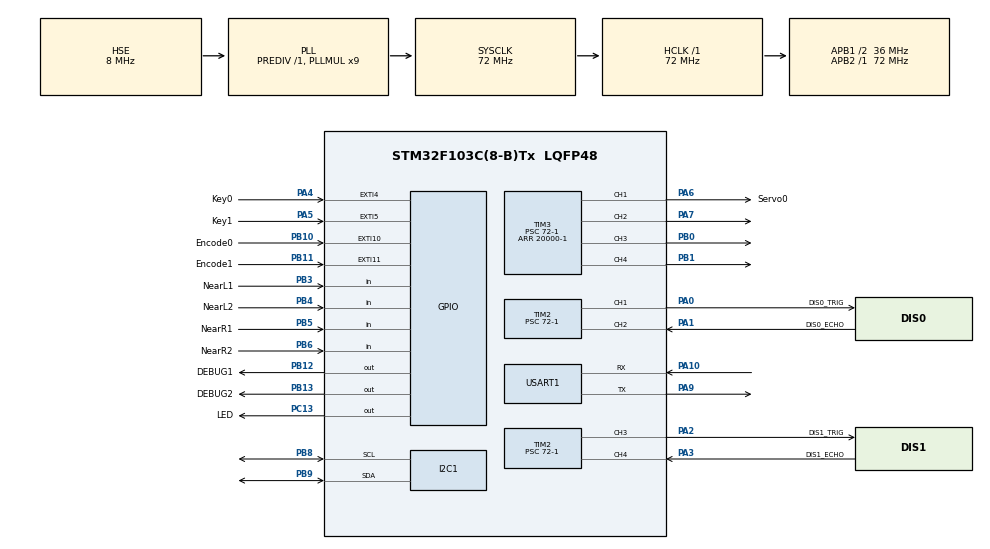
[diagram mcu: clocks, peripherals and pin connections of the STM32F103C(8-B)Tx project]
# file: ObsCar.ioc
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FREERTOS.Tasks01=defaultTask,0,128,StartDefaultTask,Default,NULL,Dynamic,NULL,NULL;Task_Ctrl,0,128,StartTask_Ctrl,Default,NULL,Dynamic,NULL,NULL;Task_MPU6050,0,128,StartTaskMPU6050,Default,NULL,Dynamic,NULL,NULL
Mcu.Family=STM32F1
Mcu.Name=STM32F103C(8-B)Tx
Mcu.Package=LQFP48
Mcu.UserConstants=HAL_HR04_PERIOD,(1000000 * 2 / 340 * 4) - 1
NVIC.EXTI15_10_IRQn=true\:5\:0\:false\:false\:true\:true\:true
NVIC.PriorityGroup=NVIC_PRIORITYGROUP_4
NVIC.TIM2_IRQn=true\:5\:0\:false\:false\:true\:true\:true
NVIC.TIM4_IRQn=true\:0\:0\:false\:false\:true\:false\:false
NVIC.TimeBase=TIM4_IRQn
NVIC.TimeBaseIP=TIM4
PA0-WKUP.GPIO_Label=DIS0_TRIG
PA0-WKUP.Signal=S_TIM2_CH1_ETR
PA1.GPIO_Label=DIS0_ECHO
PA1.Signal=S_TIM2_CH2
PA10.Mode=Asynchronous
PA10.Signal=USART1_RX
PA13.Mode=Serial_Wire
PA13.Signal=SYS_JTMS-SWDIO
PA14.Mode=Serial_Wire
PA14.Signal=SYS_JTCK-SWCLK
PA2.GPIO_Label=DIS1_TRIG
PA2.Signal=S_TIM2_CH3
PA3.GPIO_Label=DIS1_ECHO
PA3.Signal=S_TIM2_CH4
PA4.GPIO_Label=Key0
PA4.GPIO_PuPd=GPIO_PULLUP
PA4.Signal=GPXTI4
PA5.GPIO_Label=Key1
PA5.GPIO_PuPd=GPIO_PULLUP
PA5.Signal=GPXTI5
PA6.GPIO_Label=Servo0
PA6.Signal=S_TIM3_CH1
PA7.Signal=S_TIM3_CH2
PA9.Mode=Asynchronous
PA9.Signal=USART1_TX
PB0.Signal=S_TIM3_CH3
PB1.Signal=S_TIM3_CH4
PB10.GPIO_Label=Encode0
PB10.Signal=GPXTI10
PB11.GPIO_Label=Encode1
PB11.Signal=GPXTI11
PB12.GPIO_Label=DEBUG1
PB12.Signal=GPIO_Output
PB13.GPIO_Label=DEBUG2
PB13.Signal=GPIO_Output
PB3.GPIO_Label=NearL1
PB3.Signal=GPIO_Input
PB4.GPIO_Label=NearL2
PB4.Signal=GPIO_Input
PB5.GPIO_Label=NearR1
PB5.Signal=GPIO_Input
PB6.GPIO_Label=NearR2
PB6.Signal=GPIO_Input
PB8.Mode=I2C
PB8.Signal=I2C1_SCL
PB9.Mode=I2C
PB9.Signal=I2C1_SDA
PC13-TAMPER-RTC.GPIO_Label=LED
PC13-TAMPER-RTC.Signal=GPIO_Output
PD0-OSC_IN.Mode=HSE-External-Oscillator
PD0-OSC_IN.Signal=RCC_OSC_IN
PD1-OSC_OUT.Mode=HSE-External-Oscillator
PD1-OSC_OUT.Signal=RCC_OSC_OUT
ProjectManager.HeapSize=0x200
ProjectManager.StackSize=0x400
ProjectManager.TargetToolchain=MDK-ARM V5
RCC.AHBFreq_Value=72000000
RCC.APB1CLKDivider=RCC_HCLK_DIV2
RCC.APB1Freq_Value=36000000
RCC.APB1TimFreq_Value=72000000
RCC.APB2Freq_Value=72000000
RCC.APB2TimFreq_Value=72000000
RCC.HCLKFreq_Value=72000000
RCC.PLLMUL=RCC_PLL_MUL9
RCC.PLLSourceVirtual=RCC_PLLSOURCE_HSE
RCC.SYSCLKFreq_VALUE=72000000
RCC.SYSCLKSource=RCC_SYSCLKSOURCE_PLLCLK
RCC.USBFreq_Value=72000000
SH.S_TIM2_CH1_ETR.0=TIM2_CH1,PWM Generation1 CH1
SH.S_TIM2_CH2.0=TIM2_CH2,Input_Capture2_from_TI2
SH.S_TIM2_CH3.0=TIM2_CH3,PWM Generation3 CH3
SH.S_TIM2_CH4.0=TIM2_CH4,Input_Capture4_from_TI4
SH.S_TIM3_CH1.0=TIM3_CH1,PWM Generation1 CH1
SH.S_TIM3_CH2.0=TIM3_CH2,PWM Generation2 CH2
SH.S_TIM3_CH3.0=TIM3_CH3,PWM Generation3 CH3
SH.S_TIM3_CH4.0=TIM3_CH4,PWM Generation4 CH4
TIM2.Channel-Input_Capture2_from_TI2=TIM_CHANNEL_2
TIM2.Channel-Input_Capture4_from_TI4=TIM_CHANNEL_4
TIM2.Channel-PWM\ Generation1\ CH1=TIM_CHANNEL_1
TIM2.Channel-PWM\ Generation3\ CH3=TIM_CHANNEL_3
TIM2.OCMode_PWM-PWM\ Generation1\ CH1=TIM_OCMODE_PWM2
TIM2.OCMode_PWM-PWM\ Generation3\ CH3=TIM_OCMODE_PWM2
TIM2.Period=HAL_HR04_PERIOD
TIM2.Prescaler=72-1
TIM2.Pulse-PWM\ Generation1\ CH1=HAL_HR04_PERIOD-14
TIM2.Pulse-PWM\ Generation3\ CH3=HAL_HR04_PERIOD-14
TIM3.AutoReloadPreload=TIM_AUTORELOAD_PRELOAD_ENABLE
TIM3.Channel-PWM\ Generation1\ CH1=TIM_CHANNEL_1
TIM3.Channel-PWM\ Generation2\ CH2=TIM_CHANNEL_2
TIM3.Channel-PWM\ Generation3\ CH3=TIM_CHANNEL_3
TIM3.Channel-PWM\ Generation4\ CH4=TIM_CHANNEL_4
TIM3.Period=20000-1
TIM3.Prescaler=72-1
TIM3.Pulse-PWM\ Generation1\ CH1=1500-1
USART1.VirtualMode=VM_ASYNC
VP_FREERTOS_VS_ENABLE.Mode=Enabled
VP_SYS_VS_tim4.Mode=TIM4
VP_TIM2_VS_ClockSourceINT.Mode=Internal
VP_TIM3_VS_ClockSourceINT.Mode=Internal
board=custom

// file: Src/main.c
/**
  ******************************************************************************
  * @file           : main.c
  * @brief          : Main program body
  ******************************************************************************
  * This notice applies to any and all portions of this file
  * that are not between comment pairs USER CODE BEGIN and
  * USER CODE END. Other portions of this file, whether
  * inserted by the user or by software development tools
  * are owned by their respective copyright owners.
  *
  * Copyright (c) 2019 STMicroelectronics International N.V.
  * All rights reserved.
  *
  * Redistribution and use in source and binary forms, with or without
  * modification, are permitted, provided that the following conditions are met:
  *
  * 1. Redistribution of source code must retain the above copyright notice,
  *    this list of conditions and the following disclaimer.
  * 2. Redistributions in binary form must reproduce the above copyright notice,
  *    this list of conditions and the following disclaimer in the documentation
  *    and/or other materials provided with the distribution.
  * 3. Neither the name of STMicroelectronics nor the names of other
  *    contributors to this software may be used to endorse or promote products
  *    derived from this software without specific written permission.
  * 4. This software, including modifications and/or derivative works of this
  *    software, must execute solely and exclusively on microcontroller or
  *    microprocessor devices manufactured by or for STMicroelectronics.
  * 5. Redistribution and use of this software other than as permitted under
  *    this license is void and will automatically terminate your rights under
  *    this license.
  *
  * THIS SOFTWARE IS PROVIDED BY STMICROELECTRONICS AND CONTRIBUTORS "AS IS"
  * AND ANY EXPRESS, IMPLIED OR STATUTORY WARRANTIES, INCLUDING, BUT NOT
  * LIMITED TO, THE IMPLIED WARRANTIES OF MERCHANTABILITY, FITNESS FOR A
  * PARTICULAR PURPOSE AND NON-INFRINGEMENT OF THIRD PARTY INTELLECTUAL PROPERTY
  * RIGHTS ARE DISCLAIMED TO THE FULLEST EXTENT PERMITTED BY LAW. IN NO EVENT
  * SHALL STMICROELECTRONICS OR CONTRIBUTORS BE LIABLE FOR ANY DIRECT, INDIRECT,
  * INCIDENTAL, SPECIAL, EXEMPLARY, OR CONSEQUENTIAL DAMAGES (INCLUDING, BUT NOT
  * LIMITED TO, PROCUREMENT OF SUBSTITUTE GOODS OR SERVICES; LOSS OF USE, DATA,
  * OR PROFITS; OR BUSINESS INTERRUPTION) HOWEVER CAUSED AND ON ANY THEORY OF
  * LIABILITY, WHETHER IN CONTRACT, STRICT LIABILITY, OR TORT (INCLUDING
  * NEGLIGENCE OR OTHERWISE) ARISING IN ANY WAY OUT OF THE USE OF THIS SOFTWARE,
  * EVEN IF ADVISED OF THE POSSIBILITY OF SUCH DAMAGE.
  *
  ******************************************************************************
  */
#include "main.h"
#include "stm32f1xx_hal.h"
#include "cmsis_os.h"
#include "i2c.h"
#include "tim.h"
#include "usart.h"
#include "gpio.h"

/* USER CODE BEGIN PV */
/* Private variables ---------------------------------------------------------*/
/* USER CODE END PV */

void SystemClock_Config(void);
void MX_FREERTOS_Init(void);

/* USER CODE BEGIN PFP */
/* Private function prototypes -----------------------------------------------*/

#ifdef __GNUC__
#define PUTCHAR_PROTOTYPE int __io_putchar(int ch)
#else
#define PUTCHAR_PROTOTYPE int fputc(int ch, FILE *f)
#endif

/* USER CODE END PFP */

/* USER CODE BEGIN 0 */
PUTCHAR_PROTOTYPE
{
	HAL_UART_Transmit(&huart1, (uint8_t*)&ch, 1, 0xFFFF);
	return ch;
}
/* USER CODE END 0 */

int main(void)
{

  /* MCU Configuration----------------------------------------------------------*/

  /* Reset of all peripherals, Initializes the Flash interface and the Systick. */
  HAL_Init();

  /* Configure the system clock */
  SystemClock_Config();

  /* Initialize all configured peripherals */
  MX_GPIO_Init();
  MX_I2C1_Init();
  MX_TIM2_Init();
  MX_TIM3_Init();
  MX_USART1_UART_Init();

  /* Call init function for freertos objects (in freertos.c) */
  MX_FREERTOS_Init();

  /* Start scheduler */
  osKernelStart();

  /* We should never get here as control is now taken by the scheduler */

  /* Infinite loop */
  while (1)
  {

  }

}

void SystemClock_Config(void)
{

  RCC_OscInitTypeDef RCC_OscInitStruct;
  RCC_ClkInitTypeDef RCC_ClkInitStruct;

    /**Initializes the CPU, AHB and APB busses clocks
    */
  RCC_OscInitStruct.OscillatorType = RCC_OSCILLATORTYPE_HSE;
  RCC_OscInitStruct.HSEState = RCC_HSE_ON;
  RCC_OscInitStruct.HSEPredivValue = RCC_HSE_PREDIV_DIV1;
  RCC_OscInitStruct.HSIState = RCC_HSI_ON;
  RCC_OscInitStruct.PLL.PLLState = RCC_PLL_ON;
  RCC_OscInitStruct.PLL.PLLSource = RCC_PLLSOURCE_HSE;
  RCC_OscInitStruct.PLL.PLLMUL = RCC_PLL_MUL9;
  if (HAL_RCC_OscConfig(&RCC_OscInitStruct) != HAL_OK)
  {
    _Error_Handler(__FILE__, __LINE__);
  }

    /**Initializes the CPU, AHB and APB busses clocks
    */
  RCC_ClkInitStruct.ClockType = RCC_CLOCKTYPE_HCLK|RCC_CLOCKTYPE_SYSCLK
                              |RCC_CLOCKTYPE_PCLK1|RCC_CLOCKTYPE_PCLK2;
  RCC_ClkInitStruct.SYSCLKSource = RCC_SYSCLKSOURCE_PLLCLK;
  RCC_ClkInitStruct.AHBCLKDivider = RCC_SYSCLK_DIV1;
  RCC_ClkInitStruct.APB1CLKDivider = RCC_HCLK_DIV2;
  RCC_ClkInitStruct.APB2CLKDivider = RCC_HCLK_DIV1;

  if (HAL_RCC_ClockConfig(&RCC_ClkInitStruct, FLASH_LATENCY_2) != HAL_OK)
  {
    _Error_Handler(__FILE__, __LINE__);
  }

    /**Configure the Systick interrupt time
    */
  HAL_SYSTICK_Config(HAL_RCC_GetHCLKFreq()/1000);

    /**Configure the Systick
    */
  HAL_SYSTICK_CLKSourceConfig(SYSTICK_CLKSOURCE_HCLK);

  /* SysTick_IRQn interrupt configuration */
  HAL_NVIC_SetPriority(SysTick_IRQn, 15, 0);
}

void HAL_TIM_PeriodElapsedCallback(TIM_HandleTypeDef *htim)
{
  if (htim->Instance == TIM4) {
    HAL_IncTick();
  }
}

void _Error_Handler(char *file, int line)
{
  while(1)
  {
  }
}

/************************ (C) COPYRIGHT STMicroelectronics *****END OF FILE****/

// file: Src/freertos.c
/**
  ******************************************************************************
  * File Name          : freertos.c
  * Description        : Code for freertos applications
  ******************************************************************************
  * This notice applies to any and all portions of this file
  * that are not between comment pairs USER CODE BEGIN and
  * USER CODE END. Other portions of this file, whether
  * inserted by the user or by software development tools
  * are owned by their respective copyright owners.
  *
  * Copyright (c) 2019 STMicroelectronics International N.V.
  * All rights reserved.
  *
  * Redistribution and use in source and binary forms, with or without
  * modification, are permitted, provided that the following conditions are met:
  *
  * 1. Redistribution of source code must retain the above copyright notice,
  *    this list of conditions and the following disclaimer.
  * 2. Redistributions in binary form must reproduce the above copyright notice,
  *    this list of conditions and the following disclaimer in the documentation
  *    and/or other materials provided with the distribution.
  * 3. Neither the name of STMicroelectronics nor the names of other
  *    contributors to this software may be used to endorse or promote products
  *    derived from this software without specific written permission.
  * 4. This software, including modifications and/or derivative works of this
  *    software, must execute solely and exclusively on microcontroller or
  *    microprocessor devices manufactured by or for STMicroelectronics.
  * 5. Redistribution and use of this software other than as permitted under
  *    this license is void and will automatically terminate your rights under
  *    this license.
  *
  * THIS SOFTWARE IS PROVIDED BY STMICROELECTRONICS AND CONTRIBUTORS "AS IS"
  * AND ANY EXPRESS, IMPLIED OR STATUTORY WARRANTIES, INCLUDING, BUT NOT
  * LIMITED TO, THE IMPLIED WARRANTIES OF MERCHANTABILITY, FITNESS FOR A
  * PARTICULAR PURPOSE AND NON-INFRINGEMENT OF THIRD PARTY INTELLECTUAL PROPERTY
  * RIGHTS ARE DISCLAIMED TO THE FULLEST EXTENT PERMITTED BY LAW. IN NO EVENT
  * SHALL STMICROELECTRONICS OR CONTRIBUTORS BE LIABLE FOR ANY DIRECT, INDIRECT,
  * INCIDENTAL, SPECIAL, EXEMPLARY, OR CONSEQUENTIAL DAMAGES (INCLUDING, BUT NOT
  * LIMITED TO, PROCUREMENT OF SUBSTITUTE GOODS OR SERVICES; LOSS OF USE, DATA,
  * OR PROFITS; OR BUSINESS INTERRUPTION) HOWEVER CAUSED AND ON ANY THEORY OF
  * LIABILITY, WHETHER IN CONTRACT, STRICT LIABILITY, OR TORT (INCLUDING
  * NEGLIGENCE OR OTHERWISE) ARISING IN ANY WAY OUT OF THE USE OF THIS SOFTWARE,
  * EVEN IF ADVISED OF THE POSSIBILITY OF SUCH DAMAGE.
  *
  ******************************************************************************
  */

#include "FreeRTOS.h"
#include "task.h"
#include "cmsis_os.h"

/* USER CODE BEGIN Includes */
#include "freertos_var.h"
#include "main.h"
/* USER CODE END Includes */

osThreadId defaultTaskHandle;
osThreadId Task_CtrlHandle;
osThreadId Task_MPU6050Handle;

void StartDefaultTask(void const *argument);
void StartTask_Ctrl(void const *argument);
void StartTaskMPU6050(void const *argument);

void MX_FREERTOS_Init(void); /* (MISRA C 2004 rule 8.1) */

/* USER CODE BEGIN FunctionPrototypes */
void GUI_View(void);
void GUI_Edit(uint16_t upd_items);
void GUI_Key(void);
void Key_Loop(void);
void Cali_Alpha(void);
void Step_Ready(void);
void Step_Run(void);
void Step_Obs(void);
//Log function
/* USER CODE END FunctionPrototypes */

/* Hook prototypes */

/* Init FreeRTOS */

void MX_FREERTOS_Init(void)
{

	/* Create the thread(s) */
	/* definition and creation of defaultTask */
	osThreadDef(defaultTask, StartDefaultTask, osPriorityNormal, 0, 128);
	defaultTaskHandle = osThreadCreate(osThread(defaultTask), NULL);

	/* definition and creation of Task_Ctrl */
	osThreadDef(Task_Ctrl, StartTask_Ctrl, osPriorityNormal, 0, 128);
	Task_CtrlHandle = osThreadCreate(osThread(Task_Ctrl), NULL);

	/* definition and creation of Task_MPU6050 */
	osThreadDef(Task_MPU6050, StartTaskMPU6050, osPriorityNormal, 0, 128);
	Task_MPU6050Handle = osThreadCreate(osThread(Task_MPU6050), NULL);

}

/* StartDefaultTask function */
void StartDefaultTask(void const *argument)
{

	/* USER CODE BEGIN StartDefaultTask */
	uint8_t LedTime;
	TF_READY = 0x03;
	while (TF_READY)
		osDelay(200);
	printf("Im Ready!\r\nW/A:Up/Down\tA/D:Min/Add\r\nQ:PrePanel(Quit)\tE:NextPanel(Enable)\r\nL:ON/OFF Log");
	printf("R:Reset\tC:Calibrate\r\nEnter/N:ReadyRun\r\n\n\x1b[?25l");
	/* Infinite loop */
	for (;;)
	{
		osDelay(100);
		if (LedTime++ < (Flag_Mode + 1))
			GPIOC->BRR = GPIO_BRR_BR13; //Flash LED P13
		else if (LedTime > 10)
			LedTime = 0;
		osDelay(100);
		GPIOC->BSRR = GPIO_BSRR_BS13;

		//View
		if (GUI_Mode == 0)
			GUI_Key(); //This Function will be change the GUI_Mode
		if (GUI_Mode == 0)
			GUI_View();
		// else
	}
	/* USER CODE END StartDefaultTask */
}

/* StartTask_Ctrl function */
void StartTask_Ctrl(void const *argument)
{
	/* USER CODE BEGIN StartTask_Ctrl */
	//HR04
	HR04_Config();
	osDelay(1000);
	//Servo
	HAL_TIM_PWM_Start(&htim3, TIM_CHANNEL_1);
	/* Infinite loop */
	TF_READY &= ~0x01;
	for (;;)
	{
		osDelay(10);

		//PID
		if (Flag_Mode == FLAG_MODE_OBS)
			Step_Obs();
		else if (Flag_Mode == FLAG_MODE_RUN)
			Step_Run();
		else if (Flag_Mode == FLAG_MODE_CALI_S)
			Cali_Alpha();
		else if (Flag_Mode == FLAG_MODE_READY)
			Step_Ready();

		TIM3->CCR1 = 1500 + (value_servo - value_servo0);

		if (GUI_Mode != 0)
			GUI_Key();
		Key_Loop();
		if (KEY_IS_DOWN(0))
		{
			//Start
			Flag_Mode = FLAG_MODE_READY;
		}
		if (KEY_IS_DOWN(1))
		{
			//Inte Calibration Zero
			value_servo = 0;
			//Dead 2Second
			osDelay(2000);
			Flag_Mode = FLAG_MODE_CALI_G;
			Value_CaliGx = 0;
			Value_CaliGy = 0;
			Value_CaliGz = 0;
			Value_CaliT = 0;
		}
	}
	/* USER CODE END StartTask_Ctrl */
}

/* StartTaskMPU6050 function */
void StartTaskMPU6050(void const *argument)
{
	/* USER CODE BEGIN StartTaskMPU6050 */
	MPU_Datas datas_base;
	do
	{
		printf("\x1b[2J\x1b[0;0H*T Initing MPU6050!\r\n*");
		GPIOC->ODR ^= GPIO_ODR_ODR13; //Flash LED P13
		osDelay(200);
	} while (MPU_Init(10) != HAL_OK);
	//Calibration Zero
	printf("*T Calibration base datas...\r\n*");
	osDelay(900);
	MPU_GetIntDatas(&datas_base);
	MPU_GetFloatDatas(&data_acc, &data_gyro, &datas_base);
	MPU_GetAccelBase(&data_baseQ, &data_acc);
	printf("*T\r\nACCEL Base:%.4f %.4f %.4f      \r\n", data_acc.x, data_acc.y, data_acc.z);
	printf("GYRO  Base:%d %d %d      *\r\n", datas_base.Gx, datas_base.Gy, datas_base.Gz);
	/* Infinite loop */
	TF_READY &= ~0x02;
	for (;;)
	{
		if (TF_MPU6050)
		{
			TF_MPU6050 = 0;
			Flag_I2C = MPU_GetIntDatas(&datas);

			if (Flag_Mode == FLAG_MODE_CALI_G)
			{
				//Calibration
				Value_CaliGx += datas.Gx;
				Value_CaliGy += datas.Gy;
				Value_CaliGz += datas.Gz;
				Value_CaliT++;
				if (Value_CaliT >= 1000)
				{
					datas_base.Gx = Value_CaliGx / Value_CaliT;
					datas_base.Gy = Value_CaliGy / Value_CaliT;
					datas_base.Gz = Value_CaliGz / Value_CaliT;
					Flag_Mode = FLAG_MODE_CLOSE;
					value_servo = 0;
					data_q.x = 0;
					data_q.y = 0;
					data_q.z = 0;
					data_q.w = 1;
				}
				GPIOC->ODR ^= GPIO_ODR_ODR13; //Flash LED P13
			}
			else
			{
				datas.Gx -= datas_base.Gx;
				datas.Gy -= datas_base.Gy;
				datas.Gz -= datas_base.Gz;
				MPU_GetFloatDatas(&data_acc, &data_gyro, &datas);
				// MPU_NormVector(&data_acc);
				// MPU_QuatMulV3d(&data_acc, &data_baseQ, &data_acc);
				MPU_Filter(&data_gyro, &data_acc, &data_gEInt, &data_q, 0.0025f);
				MPU_GetAngle(&data_q, &data_angle.x, &data_angle.y, &data_angle.z);
			}

			if (TF_MPU6050 > 3)
				osDelay(3);
		}
	}
	/* USER CODE END StartTaskMPU6050 */
}

/* USER CODE BEGIN Application */
uint8_t USART1_Get(void)
{
	if (USART1->SR & USART_SR_RXNE)
	{
		USART1->SR &= ~USART_SR_RXNE;
		return USART1->DR;
	}
	return 0;
}
#define USART_IS_KEY(buf, key) ((buf == key) || (buf == (key - 'A' + 'a')))
#define USART_CLEAR \
	printf("\
	\r\x1b[1B\x1b[K\r\x1b[1B\x1b[K\r\x1b[1B\x1b[K\
	\r\x1b[1B\x1b[K\r\x1b[1B\x1b[K\r\x1b[1B\x1b[K\
	\r\x1b[1B\x1b[K\x1b[7A");
void GUI_Key(void)
{
	uint8_t buf;
	buf = USART1_Get();
	if (!buf)
		return;
	if (GUI_Mode == 0)
	{
		if (USART_IS_KEY(buf, 'E'))
		{
			//Enable Setting Mode
			GUI_Mode = 1;
			GUI_Sele = 0;
			USART_CLEAR;
			GUI_Edit(0xFFFF);
		}
		else if (USART_IS_KEY(buf, 'C'))
		{
			Flag_Mode = FLAG_MODE_CALI_G;
			Value_CaliGx = 0;
			Value_CaliGy = 0;
			Value_CaliGz = 0;
			Value_CaliT = 0;
		}
		else if (USART_IS_KEY(buf, 'R'))
		{
			Flag_Mode = 0;
			Flag_Dir = 1;
			Flag_Step = 0;
			Flag_Angle = 0;
			value_servo = 0;
			value_pDis = 0;
			data_q.x = 0;
			data_q.y = 0;
			data_q.z = 0;
			data_q.w = 1;
			Log_Time = 0;
			printf("\x1b[?25l\x1b[2J\x1b[0;0H");
		}
		else if (USART_IS_KEY(buf, 'L'))
		{
			Log_Enable = !Log_Enable;
		}
		else if (buf == '\r' || buf == '\n' || USART_IS_KEY(buf, 'N'))
		{
			Flag_Mode = FLAG_MODE_READY;
			Flag_Step = 0;
		}
		else if(Flag_Mode == 0)
		{
			if(USART_IS_KEY(buf, 'W'))
				value_servo = 0;
			else if(USART_IS_KEY(buf, 'S'))
				value_servo = 900;
			else if(USART_IS_KEY(buf, 'A'))
				value_servo = TURN_ANGLE;
			else if(USART_IS_KEY(buf, 'D'))
				value_servo = -TURN_ANGLE;
		}
	}
	else
	{
		if (USART_IS_KEY(buf, 'Q'))
		{
			GUI_Mode = 0;
			USART_CLEAR;
		}
		else if (USART_IS_KEY(buf, 'W'))
		{
			if (GUI_Sele)
				GUI_Sele--;
			GUI_Edit(0x0003 << GUI_Sele);
		}
		else if (USART_IS_KEY(buf, 'S'))
		{
			if (GUI_Sele < Para_Len - 1)
				GUI_Sele++;
			GUI_Edit(0x0003 << (GUI_Sele - 1));
		}
		else if (USART_IS_KEY(buf, 'A'))
		{
			Para_List[GUI_Sele]--;
			GUI_Edit(0x0001 << GUI_Sele);
		}
		else if (USART_IS_KEY(buf, 'D'))
		{
			Para_List[GUI_Sele]++;
			GUI_Edit(0x0001 << GUI_Sele);
		}
	}
}
void GUI_View(void)
{
	Log_SendLoop();
	printf("\x1b[KView %c\r", Log_Enable ? 'L' : ' ');
	if (Flag_I2C == HAL_OK)
	{
		if (Flag_Mode == FLAG_MODE_CALI_G)
		{
			printf("\x1b[1BCALI:*G%d*", Value_CaliGz);
			printf(",%d", Value_CaliT);
			printf("   \r\x1b[1A");
		}
		else
		{
			printf("\x1b[1B\x1b[K*GAngleZ:%-.1f",
				   data_angle.z * 57.2957795f);
			printf(",Servo:%-d*   \r\x1b[1A",
				   value_servo * 90 / 1000);
		}
	}
	else
	{
		if (Flag_I2C == HAL_ERROR)
			printf("\x1b[1B\x1b[K*GAngleZ:ERROR");
		else if (Flag_I2C == HAL_BUSY)
			printf("\x1b[1B\x1b[K*GAngleZ:BUSY");
		else if (Flag_I2C == HAL_TIMEOUT)
			printf("\x1b[1B\x1b[K*GAngleZ:TIMEOUT");
		printf(",Servo:%-d*   \r\x1b[1A",
			   value_servo * 90 / 1000);
	}

	if (TF_HR04)
	{
		TF_HR04 = 0;
		printf("\x1b[2B\x1b[K*DHR04:%dcm  \t%dcm  *  \r\x1b[2A",
			   HR04_GetIntCm(0), HR04_GetIntCm(1));
	}
	printf("\x1b[3B\x1b[K*SNear:%02X\t%02X\t%02X\t%02X\t*	\r\x1b[3A",
		   NearSor[0], NearSor[1], NearSor[2], NearSor[3]);
	printf("\x1b[4B\x1b[K*PMode:%d,Step:%d*    \r\x1b[4A",
		   Flag_Mode, Flag_Step);
	printf("\x1b[4B\n\x1b[5A");
}
#define BG_SELECT printf("\033[46;30m")
#define BG_NORMAL printf("\033[0m")
void GUI_Edit(uint16_t upd_items)
{
	printf("Edit\r");
	if (upd_items & (0x0001 << 0))
	{
		if (GUI_Sele == 0)
			BG_SELECT;
		else
			BG_NORMAL;
		printf("\x1b[1B*G:ReadyAngle:%d  *  \r\x1b[1A",
			   Para_ANGLE_READY);
	}
	if (upd_items & (0x0001 << 1))
	{
		if (GUI_Sele == 1)
			BG_SELECT;
		else
			BG_NORMAL;
		printf("\x1b[2B*D:ObsDis:%d  *  \r\x1b[2A",
			   Para_OBS_DIS);
	}
	if (upd_items & (0x0001 << 2))
	{
		if (GUI_Sele == 2)
			BG_SELECT;
		else
			BG_NORMAL;
		printf("\x1b[3B*S:TurnAngle:%d  *  \r\x1b[3A",
			   Para_TURN_ANGLE);
	}
	if (upd_items & (0x0001 << 3))
	{
		if (GUI_Sele == 3)
			BG_SELECT;
		else
			BG_NORMAL;
		printf("\x1b[4B*P:TurnBack:%d  *  \r\x1b[4A",
			   Para_TURN_BACK);
	}
	if (upd_items & (0x0001 << 4))
	{
		if (GUI_Sele == 4)
			BG_SELECT;
		else
			BG_NORMAL;
		printf("\x1b[5B*M:TurnMax:%d  *  \r\x1b[5A",
			   Para_TURN_MAX);
	}
	if (upd_items & (0x0001 << 5))
	{
		if (GUI_Sele == 5)
			BG_SELECT;
		else
			BG_NORMAL;
		printf("\x1b[6B*F:DisDiff:%d  *  \r\x1b[6A",
			   Para_DIS_DIFF);
	}
	if (upd_items & (0x0001 << 6))
	{
		if (GUI_Sele == 6)
			BG_SELECT;
		else
			BG_NORMAL;
		printf("\x1b[7B*E:RunLen:%d  *  \r\x1b[7A",
			   Para_RUN_LEN);
	}
	BG_NORMAL;
}
void Key_Loop(void)
{
	uint8_t i;
	for (i = 0; i < 4; i++)
	{
		NearSor[i] <<= 1;
		if (GPIOB->IDR & (GPIO_IDR_IDR3 << i))
			NearSor[i]++;
	}
	for (i = 0; i < 2; i++)
	{
		if ((KeySta[i] & 0x7F) < 0x7F)
			KeySta[i]++;
		if (GPIOA->IDR & (GPIO_IDR_IDR4 << i))
		{
			if (KEY_IS_PRESS(i))
				KeySta[i] = KEY_UP;
		}
		else
		{
			if (KEY_IS_RES(i))
				KeySta[i] = KEY_DOWN;
		}
	}
}
void Cali_Alpha(void)
{
	//Calibration value_Servo
	value_servo0 = data_angle.z * 1000 / 90;
}
#define ANGLE_READY (Para_ANGLE_READY * M_PI / 180)
void Log_StartRun(void)
{
	printf("\tStart Run\r\n");
}
//Ready
void Step_Ready(void)
{
	if (data_angle.y < ANGLE_READY && data_angle.y > -ANGLE_READY)
	{
		if (data_angle.x < ANGLE_READY && data_angle.x > -ANGLE_READY)
		{
			Flag_Mode = FLAG_MODE_RUN;
			Flag_Dir = 1;
			value_pDis = 0;
			Log_Save(Log_StartRun);
		}
	}
}
#define OBS_DIS Para_OBS_DIS
void Log_StartObs(void)
{
	printf("\tStart Obs\r\n");
}
//Run
void Step_Run(void)
{
	float tmpF, dL;
	//Is obs start?HC-SR04?NearSorL1?R1?
	if (HR04_GetIntCm(0) < OBS_DIS || NS_IS_PRESS(NearSorL1) || NS_IS_PRESS(NearSorR1))
	{
		Flag_Mode = FLAG_MODE_OBS;
		value_pDis = OBS_DIS;
		Flag_Step = 0;
		Log_Save(Log_StartObs);
		return;
	}
	//vA = A+A0
	value_angle = (data_angle.z + value_angle0);
	//Value L = D*cos(A+A0)
	value_Len = HR04_GetFloatCm(1) * cos(value_angle);
	//PID Length -> set_angle
	tmpF = set_Len - value_Len;
	dL = tmpF - pidL.vO;
	if (HR04_GetFloatCm(1) < set_Len)
		tmpF = (tmpF + set_Len - HR04_GetFloatCm(1)) / 2;
	tmpF = PID_Process(&pidL, tmpF);
	//LimitValue
	if (tmpF > 1)
		tmpF = 1;
	else if (tmpF < -1)
		tmpF = -1;
	//asin
	set_angle = asin(tmpF);
	//PID Angle -> servo alpha
	tmpF = PID_Process(&pidA, set_angle - value_angle);
	//LimitValue
	if (tmpF > 1)
		tmpF = 1;
	else if (tmpF < -1)
		tmpF = -1;
	//asin
	value_servo = asin(tmpF) * 2000.f / M_PI;
	//LimitValue
	if (value_servo > 500)
		value_servo = 500;
	else if (value_servo < -500)
		value_servo = -500;

	//Fix base
	if (dL < 1.f && dL > -1.f)
	{
		value_servo0 += value_servo / 64;
		value_angle0 -= (data_angle.z + value_angle0) / 64;
	}
}
uint8_t Log_TurnBack_value = 0;
uint8_t Log_TurnMax_value = 0;
void Log_TurnBack(void)
{
	if (Log_TurnBack_value)
	{
		printf("\tTurn back:DisDiff ");
		printf(":%d\r\n", Log_TurnBack_value);
	}
	else if (Log_TurnMax_value)
	{
		printf("\tTurn back:Max ");
		printf(":%d\r\n", Log_TurnMax_value);
	}
	else
		printf("\tTurn back:NearSor\r\n");
}
uint8_t Log_TurnAngle_value = 0;
int8_t Log_TurnAngle_angle = 0;
void Log_TurnAngle(void)
{
	if (Log_TurnAngle_value)
		printf("\tTurn Left:");
	else
		printf("\tTurn Right:");
	printf("%d\r\n",Log_TurnAngle_angle);
}
//Obs
void Step_Obs(void)
{
	if (Flag_Step == 0)
	{
		if (Flag_Dir)
		{
			//Right
			Flag_Angle = -TURN_ANGLE;
			NearSorX1 = &(NearSorL1);
			NearSorX2 = &(NearSorL2);
			Log_TurnAngle_value = 0; //Log
		}
		else
		{
			//Left
			Flag_Angle = TURN_ANGLE;
			NearSorX1 = &(NearSorR1);
			NearSorX2 = &(NearSorR2);
			Log_TurnAngle_value = 1; //Log
		}
		Log_TurnAngle_angle = data_angle.z * 57.2957795f;
		Log_Save(Log_TurnAngle); //Log
		//Reset angle
		/* data_q.x = 0;
		data_q.y = 0;
		data_q.z = 0;
		data_q.w = 1; */
		Log_TurnMax_value = 0;
		//next
		Flag_Step++;
	}
	if (Flag_Step == 1)
	{
		//判断突变
		if ((HR04_GetFloatCm(0) - value_pDis > DIS_DIFF))
		{
			Log_TurnBack_value = HR04_GetFloatCm(0) - value_pDis;
			Log_Save(Log_TurnBack);
			Flag_Angle = Flag_Dir ? TURN_BACK : -TURN_BACK;
		}
		if (!Log_TurnMax_value)
		{
			if (data_angle.z * 57.2957795f > Para_TURN_MAX && Flag_Dir)
			{
				Log_TurnBack_value = 0;
				Log_TurnMax_value = 1;
				Log_Save(Log_TurnBack);
				Flag_Angle = 0;//TURN_BACK;
			}
			if (data_angle.z * 57.2957795f < -(int16_t)Para_TURN_MAX && !Flag_Dir)
			{
				Log_TurnBack_value = 0;
				Log_TurnMax_value = 1;
				Log_Save(Log_TurnBack);
				Flag_Angle = 0;//-TURN_BACK;
			}
		}
		if ((NS_IS_UP(*NearSorX1)))
		{
			Log_TurnBack_value = 0;
			Log_TurnMax_value = 0;
			Log_Save(Log_TurnBack);
			Flag_Angle = Flag_Dir ? TURN_BACK : -TURN_BACK;
		}
		//判断准备经过障碍
		if (NS_IS_PRESS(*NearSorX2))
		{
			Flag_Step++;
			//转正
			Flag_Angle = Flag_Dir ? TURN_ANGLE : -TURN_ANGLE;
		}
		value_pDis = HR04_GetFloatCm(0);
		//避障
		value_servo = Flag_Angle;
	}
	else if (Flag_Step == 2)
	{
		//判断超过障碍
		if (NS_IS_RES(*NearSorX2))
		{
			//切换方向
			Flag_Step = 0;
			Flag_Dir = !Flag_Dir;
			value_pDis = 400;
		}
	}
	//判断LR1障碍
	if (NS_IS_PRESS(NearSorL1) && NS_IS_PRESS(NearSorR1))
		value_servo = Flag_Angle;
	else if (NS_IS_PRESS(NearSorL1))
		value_servo = -TURN_ANGLE;
	else if (NS_IS_PRESS(NearSorR1))
		value_servo = TURN_ANGLE;
	else if (Flag_Step == 2)
	{
		if (data_angle.z < 0 && Flag_Dir)
		{
			Flag_Angle = 0;
		}
		else if (data_angle.z > 0 && !Flag_Dir)
		{
			Flag_Angle = 0;
		}
		value_servo = Flag_Angle;
	}
}
/* USER CODE END Application */

/************************ (C) COPYRIGHT STMicroelectronics *****END OF FILE****/
